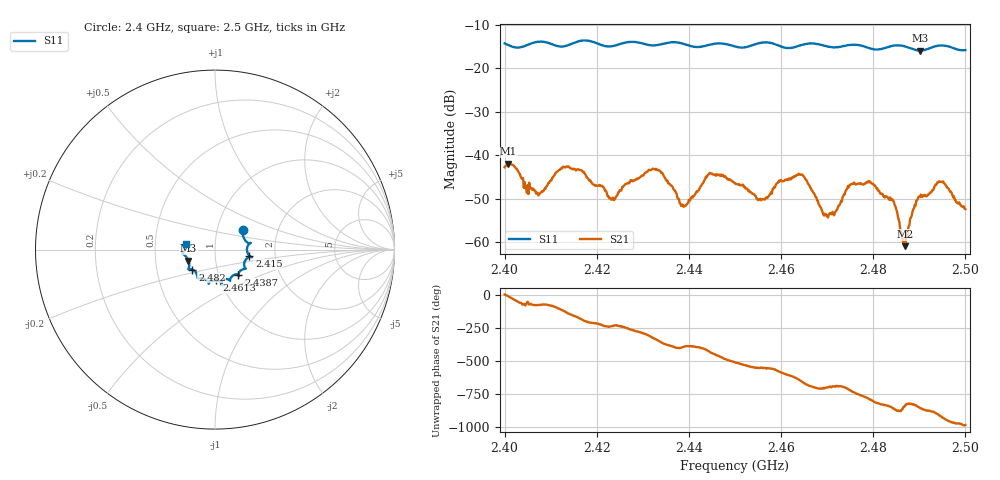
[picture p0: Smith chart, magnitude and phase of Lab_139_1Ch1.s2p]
# Hz S RI R 50
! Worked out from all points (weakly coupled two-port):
!   601 points, 2.4 GHz to 2.5 GHz, reference 50 ohm
!   highest |S21| = -41.89 dB at 2.4008 GHz (marker M1); lowest = -60.9 dB at 2.4868 GHz (marker M2)
!   lowest |S11| = -15.9 dB at 2.4902 GHz (marker M3), VSWR 1.38, Z = 36.9 - j4.65 ohm
!   |S11| at or under -10 dB: start of sweep to end of sweep
!   S12 and S22 are empty: the file has one direction only
!   S11 on the Smith chart (normalised r, x): 2.4 GHz: 1.33, +0.31; 2.415 GHz: 1.47, -0.11; 2.4387 GHz: 1.24, -0.36; 2.4613 GHz: 0.96, -0.34; 2.482 GHz: 0.76, -0.17; 2.5 GHz: 0.72, +0.05
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2.4e9  0.1578 0.1116  0.0073 0.000417  0 0  0 0
2.400833e9  0.1557 0.0997  0.00791 -0.00147  0 0  0 0
2.407333e9  0.199 0.0364  0.000828 -0.00337  0 0  0 0
2.415e9  0.1922 -0.036  -0.00646 -0.00278  0 0  0 0
2.416667e9  0.2035 -0.0437  -0.00676 0.000332  0 0  0 0
2.4235e9  0.1624 -0.0787  -0.00187 0.00269  0 0  0 0
2.433333e9  0.1319 -0.1317  0.00655 0.0017  0 0  0 0
2.438667e9  0.1303 -0.1413  0.00223 -0.00156  0 0  0 0
2.4445e9  0.0839 -0.167  0.00223 -0.0059  0 0  0 0
2.45e9  0.0689 -0.1646  -0.0041 -0.0025  0 0  0 0
2.456e9  0.0368 -0.1947  -0.00309 0.000598  0 0  0 0
2.461333e9  0.00794 -0.1711  -0.00239 0.00464  0 0  0 0
2.464333e9  -0.0296 -0.1826  0.00218 0.00564  0 0  0 0
2.466667e9  -0.0348 -0.1904  0.0035 0.00186  0 0  0 0
2.469833e9  -0.0422 -0.1743  0.00196 0.000729  0 0  0 0
2.475333e9  -0.0944 -0.1612  0.00465 -0.000577  0 0  0 0
2.482e9  -0.1261 -0.1114  -0.00107 -0.00346  0 0  0 0
2.483333e9  -0.1396 -0.1085  -0.00158 -0.00281  0 0  0 0
2.486833e9  -0.1464 -0.103  -0.000493 -0.000761  0 0  0 0
2.490167e9  -0.148 -0.0614  -0.00236 -0.00235  0 0  0 0
2.494833e9  -0.1822 -0.0201  -0.00464 0.0018  0 0  0 0
2.5e9  -0.1589 0.0322  -0.000248 0.0024  0 0  0 0
